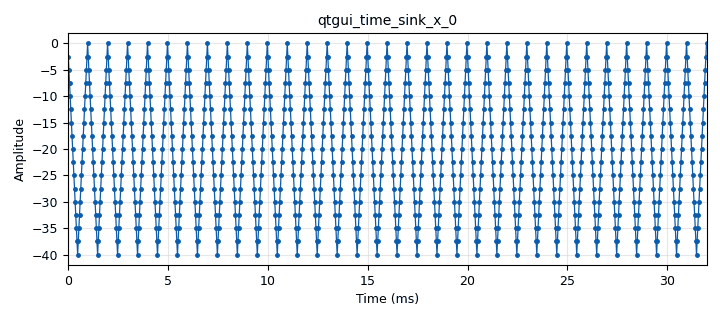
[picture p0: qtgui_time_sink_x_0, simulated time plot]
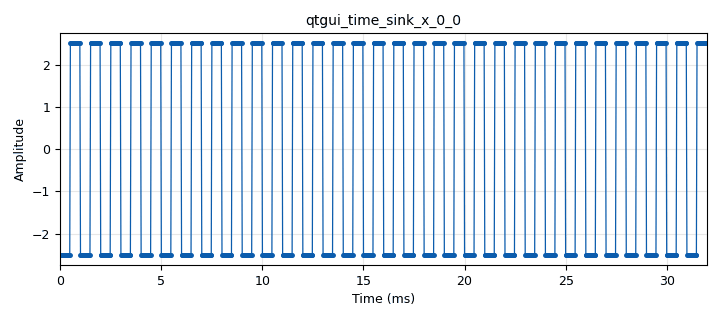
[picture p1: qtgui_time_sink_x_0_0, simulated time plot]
options:
  parameters:
    generate_options: qt_gui
    id: BloqueAcumulador
    output_language: python
    title: Not titled yet
  states: {}

blocks:
- name: samp_rate
  id: variable
  parameters:
    value: '32000'
  states: {}
- name: analog_sig_source_x_0
  id: analog_sig_source_x
  parameters:
    amp: '5'
    freq: '1000'
    offset: '-2.5'
    phase: '0'
    samp_rate: samp_rate
    type: float
    waveform: analog.GR_SQR_WAVE
  states: {}
- name: blocks_message_debug_0
  id: blocks_message_debug
  parameters: {}
  states: {}
- name: epy_block_0
  id: epy_block
  parameters:
    _source_code: |
      import numpy as np
      from gnuradio import gr
      class blk ( gr . sync_block ) :
      	def __init__ ( self) : # only default arguments here
      		gr . sync_block . __init__ (
      			self ,
      			name = " e_Acum " , # will show up in GRC
      			in_sig =[ np.float32 ] ,
      			out_sig =[ np.float32 ])
      		self.acum_anterior=0
      		
      	def work ( self , input_items , output_items ) :
      		x = input_items [0] # Senial de entrada.
      		N = len(x)
      		y = output_items [0] # Senial acumulada
      		y[:] = self.acum_anterior+np.cumsum(x)
      		self.acum_anterior=y[-1]
      		return len(x)
  states: {}
- name: qtgui_time_sink_x_0
  id: qtgui_time_sink_x
  parameters:
    autoscale: 'True'
    entags: 'False'
    grid: 'True'
    marker1: '0'
    size: '1024'
    srate: samp_rate
    type: float
    update_time: '5'
  states: {}
- name: qtgui_time_sink_x_0_0
  id: qtgui_time_sink_x
  parameters:
    autoscale: 'True'
    entags: 'False'
    grid: 'True'
    marker1: '0'
    size: '1024'
    srate: samp_rate
    type: float
    update_time: '5'
  states: {}

connections:
- [analog_sig_source_x_0, '0', epy_block_0, '0']
- [analog_sig_source_x_0, '0', qtgui_time_sink_x_0_0, '0']
- [epy_block_0, '0', qtgui_time_sink_x_0, '0']

metadata:
  file_format: 1
  grc_version: v3.11.0.0git-810-g1ecb8565
